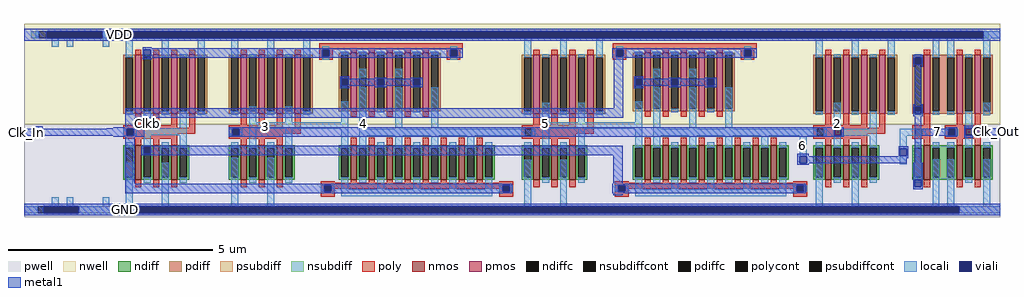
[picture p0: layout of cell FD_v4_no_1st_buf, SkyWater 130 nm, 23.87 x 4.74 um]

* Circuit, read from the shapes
.subckt FD_v4_no_1st_buf Clk_In VDD GND Clk_Out
XM1 Clkb Clk_In GND GND sky130_fd_pr__nfet_01v8 w=0.84 l=0.15 m=3
XM2 3 2 GND GND sky130_fd_pr__nfet_01v8 w=0.84 l=0.15 m=3
XM3 4 Clk_In 3 GND sky130_fd_pr__nfet_01v8 w=0.84 l=0.15 m=8
XM4 5 4 GND GND sky130_fd_pr__nfet_01v8 w=0.84 l=0.15 m=3
XM5 6 Clkb 5 GND sky130_fd_pr__nfet_01v8 w=0.84 l=0.15 m=8
XM6 2 6 GND GND sky130_fd_pr__nfet_01v8 w=0.84 l=0.15 m=3
XM7 GND 6 7 GND sky130_fd_pr__nfet_01v8 w=0.84 l=0.15
XM8 Clk_Out 7 GND GND sky130_fd_pr__nfet_01v8 w=0.84 l=0.15 m=2
XM9 Clkb Clk_In VDD VDD sky130_fd_pr__pfet_01v8 w=1.44 l=0.15 m=4
XM10 3 2 VDD VDD sky130_fd_pr__pfet_01v8 w=1.44 l=0.15 m=4
XM11 4 Clkb 3 VDD sky130_fd_pr__pfet_01v8 w=1.44 l=0.15 m=5
XM12 5 4 VDD VDD sky130_fd_pr__pfet_01v8 w=1.44 l=0.15 m=4
XM13 6 Clk_In 5 VDD sky130_fd_pr__pfet_01v8 w=1.44 l=0.15 m=5
XM14 2 6 VDD VDD sky130_fd_pr__pfet_01v8 w=1.44 l=0.15 m=4
XM15 VDD 6 7 VDD sky130_fd_pr__pfet_01v8 w=1.44 l=0.15
XM16 Clk_Out 7 VDD VDD sky130_fd_pr__pfet_01v8 w=1.44 l=0.15 m=2
.ends

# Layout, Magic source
magic
tech sky130A
magscale 1 2
<< nwell >>
rect -382 -313 4392 178
<< pwell >>
rect -382 -769 4392 -313
<< ndiff >>
rect 4108 -585 4122 -417
<< pdiff >>
rect 4108 -263 4122 25
<< psubdiff >>
rect -382 -748 -314 -714
rect -115 -748 179 -714
rect 4193 -748 4392 -714
<< nsubdiff >>
rect -346 107 -309 141
rect 1 107 28 141
rect 127 107 151 141
rect 4309 107 4336 141
<< psubdiffcont >>
rect -314 -748 -115 -714
rect 179 -748 4193 -714
<< nsubdiffcont >>
rect -309 107 1 141
rect 151 107 4309 141
<< poly >>
rect 1061 52 1216 82
rect 1598 52 1765 82
rect 2499 52 2654 82
rect 3036 52 3203 82
rect 1061 51 1127 52
rect 1061 17 1077 51
rect 1111 17 1127 51
rect 1061 1 1127 17
rect 1687 51 1753 52
rect 1687 17 1703 51
rect 1737 17 1753 51
rect 1687 1 1753 17
rect 2499 51 2565 52
rect 2499 17 2515 51
rect 2549 17 2565 51
rect 2499 1 2565 17
rect 3125 51 3191 52
rect 3125 17 3141 51
rect 3175 17 3191 51
rect 3125 1 3191 17
rect 1070 -600 1137 -593
rect 1943 -600 2010 -593
rect 1070 -611 1216 -600
rect 1070 -645 1086 -611
rect 1120 -630 1216 -611
rect 1862 -611 2010 -600
rect 1862 -630 1959 -611
rect 1120 -645 1137 -630
rect 1070 -669 1137 -645
rect 1943 -645 1959 -630
rect 1993 -645 2010 -611
rect 1943 -669 2010 -645
rect 2508 -600 2575 -593
rect 3381 -600 3448 -593
rect 2508 -611 2654 -600
rect 2508 -645 2524 -611
rect 2558 -630 2654 -611
rect 3300 -611 3448 -600
rect 3300 -630 3397 -611
rect 2558 -645 2575 -630
rect 2508 -669 2575 -645
rect 3381 -645 3397 -630
rect 3431 -645 3448 -611
rect 3381 -669 3448 -645
<< polycont >>
rect 1077 17 1111 51
rect 1703 17 1737 51
rect 2515 17 2549 51
rect 3141 17 3175 51
rect 1086 -645 1120 -611
rect 1959 -645 1993 -611
rect 2524 -645 2558 -611
rect 3397 -645 3431 -611
<< locali >>
rect -325 107 -309 141
rect 1 107 151 141
rect 4309 107 4392 141
rect -246 65 -212 107
rect -174 65 -140 107
rect 2 65 36 107
rect 116 13 150 107
rect 292 13 326 107
rect 468 13 502 107
rect 632 29 666 107
rect 808 13 842 107
rect 984 13 1018 107
rect 1077 51 1111 67
rect 1077 1 1111 17
rect 1703 51 1737 67
rect 1703 1 1737 17
rect 2064 13 2098 107
rect 2240 13 2274 107
rect 2416 13 2450 107
rect 2515 51 2549 67
rect 2515 1 2549 17
rect 3141 51 3175 67
rect 3141 1 3175 17
rect 3491 13 3525 107
rect 3667 13 3701 107
rect 3843 13 3877 107
rect 4062 13 4096 107
rect 4134 13 4168 107
rect 4310 13 4344 107
rect 1258 -83 1292 -42
rect 1434 -83 1468 -42
rect 2696 -83 2730 -42
rect 2872 -83 2906 -42
rect 1258 -92 1262 -83
rect 2696 -92 2700 -83
rect 1258 -134 1262 -126
rect 2696 -134 2700 -126
rect 204 -334 238 -267
rect 380 -334 414 -251
rect 204 -368 414 -334
rect 720 -303 754 -225
rect 896 -303 930 -225
rect 1170 -303 1204 -202
rect 204 -403 238 -368
rect 380 -429 414 -368
rect 720 -337 1204 -303
rect 720 -403 754 -337
rect 896 -429 930 -337
rect 1170 -413 1204 -337
rect 1258 -335 1292 -134
rect 1434 -335 1468 -134
rect 1610 -335 1644 -134
rect 2152 -303 2186 -209
rect 2328 -303 2362 -209
rect 2608 -303 2642 -202
rect 1258 -369 2056 -335
rect 2152 -337 2642 -303
rect 1258 -415 1292 -369
rect 1434 -415 1468 -369
rect 1610 -417 1644 -369
rect 1786 -403 1820 -369
rect 2152 -403 2186 -337
rect 2328 -429 2362 -337
rect 2608 -413 2642 -337
rect 2696 -335 2730 -134
rect 2872 -335 2906 -134
rect 3048 -335 3082 -134
rect 3579 -335 3613 -209
rect 3755 -335 3789 -267
rect 4222 -334 4256 -267
rect 4310 -270 4344 -209
rect 2696 -369 3479 -335
rect 3579 -369 3582 -335
rect 3616 -369 3789 -335
rect 2696 -415 2730 -369
rect 2872 -415 2906 -369
rect 3048 -417 3082 -369
rect 3224 -403 3258 -369
rect 3412 -470 3446 -369
rect 3579 -403 3613 -369
rect 3755 -403 3789 -369
rect 3902 -369 3962 -335
rect 3977 -369 4011 -335
rect -246 -714 -212 -670
rect -174 -714 -140 -670
rect 2 -714 36 -670
rect 116 -714 150 -503
rect 292 -714 326 -503
rect 632 -714 666 -477
rect 808 -714 842 -477
rect 1070 -645 1086 -611
rect 1120 -645 1136 -611
rect 1170 -633 1204 -599
rect 1346 -633 1380 -599
rect 1522 -633 1556 -573
rect 1698 -633 1732 -573
rect 1874 -633 1908 -573
rect 1170 -667 1908 -633
rect 1943 -645 1959 -611
rect 1993 -645 2009 -611
rect 2064 -714 2098 -488
rect 2240 -714 2274 -488
rect 3902 -433 3936 -369
rect 4222 -403 4256 -368
rect 2508 -645 2524 -611
rect 2558 -645 2574 -611
rect 2608 -633 2642 -599
rect 2784 -633 2818 -599
rect 2960 -633 2994 -573
rect 3136 -633 3170 -573
rect 3312 -633 3346 -573
rect 2608 -667 3346 -633
rect 3381 -645 3397 -611
rect 3431 -645 3447 -611
rect 3491 -714 3525 -501
rect 3667 -714 3701 -501
rect 3902 -510 3936 -467
rect 3974 -470 4008 -436
rect 3974 -585 4008 -477
rect 4062 -714 4096 -486
rect 4134 -714 4168 -486
rect 4310 -714 4344 -486
rect -382 -748 -314 -714
rect -115 -748 179 -714
rect 4193 -748 4392 -714
<< viali >>
rect -270 107 1 141
rect 151 107 4309 141
rect 204 17 238 51
rect 1077 17 1111 51
rect 1703 17 1737 51
rect 2515 17 2549 51
rect 3141 17 3175 51
rect 3974 -21 4008 13
rect 1170 -126 1204 -92
rect 1346 -126 1380 -92
rect 1522 -126 1556 -92
rect 2608 -126 2642 -92
rect 2784 -126 2818 -92
rect 2960 -126 2994 -92
rect 120 -369 154 -335
rect 204 -459 238 -425
rect 636 -369 670 -335
rect 3974 -262 4008 -228
rect 3582 -369 3616 -335
rect 4138 -369 4172 -335
rect 4222 -368 4256 -334
rect 1086 -645 1120 -611
rect 1959 -645 1993 -611
rect 3412 -504 3446 -470
rect 3902 -467 3936 -433
rect 2524 -645 2558 -611
rect 3397 -645 3431 -611
rect 3974 -619 4008 -585
rect -289 -748 -115 -714
rect 179 -748 4193 -714
<< metal1 >>
rect -382 141 4392 153
rect -382 107 -270 141
rect 1 107 151 141
rect 4309 107 4392 141
rect -382 95 4392 107
rect 198 57 244 63
rect 198 51 1765 57
rect 198 17 204 51
rect 238 17 1077 51
rect 1111 17 1703 51
rect 1737 17 1765 51
rect 198 11 1765 17
rect 2495 51 3203 57
rect 2495 17 2515 51
rect 2549 17 3141 51
rect 3175 17 3203 51
rect 2495 11 3203 17
rect 3968 13 4014 25
rect 198 5 244 11
rect 1164 -92 1210 -80
rect 1334 -92 1392 -86
rect 1510 -92 1568 -86
rect 1164 -126 1170 -92
rect 1204 -126 1346 -92
rect 1380 -126 1522 -92
rect 1556 -126 1568 -92
rect 1164 -138 1210 -126
rect 1334 -132 1392 -126
rect 1510 -132 1568 -126
rect 2503 -236 2549 11
rect 3968 -21 3974 13
rect 4008 -21 4014 13
rect 3968 -33 4014 -21
rect 2602 -92 2648 -80
rect 2772 -92 2830 -86
rect 2948 -92 3006 -86
rect 2602 -126 2608 -92
rect 2642 -126 2784 -92
rect 2818 -126 2960 -92
rect 2994 -126 3006 -92
rect 2602 -138 2648 -126
rect 2772 -132 2830 -126
rect 2948 -132 3006 -126
rect 3974 -216 4008 -33
rect 113 -282 2549 -236
rect 3968 -228 4014 -216
rect 3968 -262 3974 -228
rect 4008 -262 4014 -228
rect 3968 -274 4014 -262
rect -336 -335 -290 -323
rect 113 -329 159 -282
rect 55 -334 206 -329
rect 22 -335 206 -334
rect -382 -369 120 -335
rect 154 -369 206 -335
rect -336 -381 -290 -369
rect 55 -375 206 -369
rect 620 -335 3628 -329
rect 620 -369 636 -335
rect 670 -369 3582 -335
rect 3616 -369 3628 -335
rect 620 -375 3628 -369
rect 3974 -335 4008 -274
rect 4126 -335 4184 -329
rect 3974 -369 4138 -335
rect 4172 -369 4184 -335
rect 113 -605 159 -375
rect 192 -425 2547 -419
rect 192 -459 204 -425
rect 238 -459 2547 -425
rect 3896 -433 3942 -421
rect 192 -465 2547 -459
rect 2501 -605 2547 -465
rect 3400 -470 3456 -458
rect 3896 -467 3902 -433
rect 3936 -467 3942 -433
rect 3896 -470 3942 -467
rect 3400 -504 3412 -470
rect 3446 -479 3942 -470
rect 3446 -504 3936 -479
rect 3974 -501 4008 -369
rect 4126 -375 4184 -369
rect 4216 -334 4262 -322
rect 4216 -368 4222 -334
rect 4256 -368 4392 -334
rect 4216 -380 4262 -368
rect 3400 -512 3456 -504
rect 3968 -585 4014 -501
rect 113 -611 2005 -605
rect 113 -645 1086 -611
rect 1120 -645 1959 -611
rect 1993 -645 2005 -611
rect 113 -651 2005 -645
rect 2495 -611 3443 -605
rect 2495 -645 2524 -611
rect 2558 -645 3397 -611
rect 3431 -645 3443 -611
rect 3968 -619 3974 -585
rect 4008 -619 4014 -585
rect 3968 -631 4014 -619
rect 2495 -651 3443 -645
rect 2501 -660 2547 -651
rect -382 -714 4392 -702
rect -382 -748 -289 -714
rect -115 -748 179 -714
rect 4193 -748 4392 -714
rect -382 -760 4392 -748
use sky130_fd_pr__pfet_01v8_A8DS5R  MPClkin
transform 1 0 177 0 1 -227
box -109 -133 373 314
use sky130_fd_pr__nfet_01v8_PW6BNL  MNClkin
transform 1 0 177 0 1 -422
box -73 -199 249 103
use sky130_fd_pr__pfet_01v8_A8DS5R  MPinv1
transform 1 0 693 0 1 -227
box -109 -133 373 314
use sky130_fd_pr__nfet_01v8_PW6BNL  MNinv1
transform 1 0 693 0 1 -422
box -73 -199 249 103
use sky130_fd_pr__pfet_01v8_A2DS5R  MPTgate1
transform 1 0 1231 0 -1 1
box -109 -86 461 314
use sky130_fd_pr__nfet_01v8_PW9BNL  MNTgate1
transform 1 0 1231 0 -1 -580
box -73 -199 689 50
use sky130_fd_pr__nfet_01v8_PW6BNL  MNinv2
transform 1 0 2125 0 1 -422
box -73 -199 249 103
use sky130_fd_pr__pfet_01v8_A8DS5R  MPinv2
transform 1 0 2125 0 1 -227
box -109 -133 373 314
use sky130_fd_pr__nfet_01v8_PW9BNL  MNTgate2
transform 1 0 2669 0 -1 -580
box -73 -199 689 50
use sky130_fd_pr__pfet_01v8_A2DS5R  MPTgate2
transform 1 0 2669 0 -1 1
box -109 -86 461 314
use sky130_fd_pr__nfet_01v8_PW6BNL  MNfb
transform 1 0 3552 0 1 -422
box -73 -199 249 103
use sky130_fd_pr__pfet_01v8_A8DS5R  MPfb
transform 1 0 3552 0 1 -227
box -109 -133 373 314
use sky130_fd_pr__pfet_01v8_A1DS5R  MPbuf2
transform 1 0 4195 0 1 -227
box -109 -133 197 314
use sky130_fd_pr__nfet_01v8_PW7BNL  MNbuf1
transform 1 0 4035 0 1 -422
box -73 -199 73 103
use sky130_fd_pr__pfet_01v8_A9DS5R  MPbuf1
transform 1 0 4035 0 1 -227
box -109 -133 109 314
use sky130_fd_pr__nfet_01v8_PW8BNL  MNbuf2
transform 1 0 4195 0 1 -422
box -73 -199 161 103
<< labels >>
rlabel locali 208 -326 233 -298 1 Clkb
rlabel metal1 68 95 102 153 1 VDD
port 2 n
rlabel metal1 96 -760 130 -702 1 GND
port 3 n
rlabel locali 786 -335 811 -311 1 3
rlabel locali 1264 -321 1289 -297 1 4
rlabel locali 2157 -323 2182 -299 1 5
rlabel locali 3583 -321 3608 -297 1 2
rlabel locali 3416 -430 3440 -404 1 6
rlabel metal1 4072 -363 4097 -339 1 7
rlabel metal1 4358 -368 4392 -334 1 Clk_Out
port 4 n
rlabel metal1 -382 -369 -357 -335 1 Clk_In
port 1 n
<< properties >>
string LEFsite unithddb1
string LEFclass CORE
<< end >>

# cell sky130_fd_pr__pfet_01v8_A8DS5R: kit device sky130_fd_pr__pfet_01v8, w 0.72 l 0.15 m 1 nf 1 diffcov 100 polycov 100 guard 0 glc 0 grc 0 gtc 0 gbc 0 tbcov 100 rlcov 100 topc 0 botc 1 poverlap 0 doverlap 1 lmin 0.15 wmin 0.42 compatible {sky130_fd_pr__pfet_01v8 sky130_fd_pr__pfet_01v8_lvt sky130_fd_pr__pfet_01v8_hvt sky130_fd_pr__pfet_g5v0d10v5} full_metal 0 viasrc 100 viadrn 100 viagate 100 viagb 0 viagr 0 viagl 0 viagt 0

# cell sky130_fd_pr__nfet_01v8_PW6BNL: kit device sky130_fd_pr__nfet_01v8, w 0.460 l 0.150 m 1 nf 1 diffcov 100 polycov 100 guard 0 glc 0 grc 0 gtc 0 gbc 0 tbcov 100 rlcov 100 topc 1 botc 0 poverlap 0 doverlap 1 lmin 0.15 wmin 0.42 compatible {sky130_fd_pr__nfet_01v8 sky130_fd_pr__nfet_01v8_lvt sky130_fd_bs_flash__special_sonosfet_star sky130_fd_pr__nfet_g5v0d10v5 sky130_fd_pr__nfet_05v0_nvt sky130_fd_pr__nfet_03v3_nvt} full_metal 0 viasrc 100 viadrn 100 viagate 100 viagb 0 viagr 0 viagl 0 viagt 0

# cell sky130_fd_pr__pfet_01v8_A2DS5R: kit device sky130_fd_pr__pfet_01v8, w 0.72 l 0.15 m 1 nf 1 diffcov 100 polycov 100 guard 0 glc 0 grc 0 gtc 0 gbc 0 tbcov 100 rlcov 100 topc 0 botc 1 poverlap 0 doverlap 1 lmin 0.15 wmin 0.42 compatible {sky130_fd_pr__pfet_01v8 sky130_fd_pr__pfet_01v8_lvt sky130_fd_pr__pfet_01v8_hvt sky130_fd_pr__pfet_g5v0d10v5} full_metal 0 viasrc 100 viadrn 100 viagate 100 viagb 0 viagr 0 viagl 0 viagt 0

# cell sky130_fd_pr__nfet_01v8_PW9BNL: kit device sky130_fd_pr__nfet_01v8, w 0.460 l 0.150 m 1 nf 1 diffcov 100 polycov 100 guard 0 glc 0 grc 0 gtc 0 gbc 0 tbcov 100 rlcov 100 topc 1 botc 0 poverlap 0 doverlap 1 lmin 0.15 wmin 0.42 compatible {sky130_fd_pr__nfet_01v8 sky130_fd_pr__nfet_01v8_lvt sky130_fd_bs_flash__special_sonosfet_star sky130_fd_pr__nfet_g5v0d10v5 sky130_fd_pr__nfet_05v0_nvt sky130_fd_pr__nfet_03v3_nvt} full_metal 0 viasrc 100 viadrn 100 viagate 100 viagb 0 viagr 0 viagl 0 viagt 0

# cell sky130_fd_pr__pfet_01v8_A1DS5R: kit device sky130_fd_pr__pfet_01v8, w 0.72 l 0.15 m 1 nf 1 diffcov 100 polycov 100 guard 0 glc 0 grc 0 gtc 0 gbc 0 tbcov 100 rlcov 100 topc 0 botc 1 poverlap 0 doverlap 1 lmin 0.15 wmin 0.42 compatible {sky130_fd_pr__pfet_01v8 sky130_fd_pr__pfet_01v8_lvt sky130_fd_pr__pfet_01v8_hvt sky130_fd_pr__pfet_g5v0d10v5} full_metal 0 viasrc 100 viadrn 100 viagate 100 viagb 0 viagr 0 viagl 0 viagt 0

# cell sky130_fd_pr__nfet_01v8_PW7BNL: kit device sky130_fd_pr__nfet_01v8, w 0.460 l 0.150 m 1 nf 1 diffcov 100 polycov 100 guard 0 glc 0 grc 0 gtc 0 gbc 0 tbcov 100 rlcov 100 topc 1 botc 0 poverlap 0 doverlap 1 lmin 0.15 wmin 0.42 compatible {sky130_fd_pr__nfet_01v8 sky130_fd_pr__nfet_01v8_lvt sky130_fd_bs_flash__special_sonosfet_star sky130_fd_pr__nfet_g5v0d10v5 sky130_fd_pr__nfet_05v0_nvt sky130_fd_pr__nfet_03v3_nvt} full_metal 0 viasrc 100 viadrn 100 viagate 100 viagb 0 viagr 0 viagl 0 viagt 0

# cell sky130_fd_pr__pfet_01v8_A9DS5R: kit device sky130_fd_pr__pfet_01v8, w 0.72 l 0.15 m 1 nf 1 diffcov 100 polycov 100 guard 0 glc 0 grc 0 gtc 0 gbc 0 tbcov 100 rlcov 100 topc 0 botc 1 poverlap 0 doverlap 1 lmin 0.15 wmin 0.42 compatible {sky130_fd_pr__pfet_01v8 sky130_fd_pr__pfet_01v8_lvt sky130_fd_pr__pfet_01v8_hvt sky130_fd_pr__pfet_g5v0d10v5} full_metal 0 viasrc 100 viadrn 100 viagate 100 viagb 0 viagr 0 viagl 0 viagt 0

# cell sky130_fd_pr__nfet_01v8_PW8BNL: kit device sky130_fd_pr__nfet_01v8, w 0.460 l 0.150 m 1 nf 1 diffcov 100 polycov 100 guard 0 glc 0 grc 0 gtc 0 gbc 0 tbcov 100 rlcov 100 topc 1 botc 0 poverlap 0 doverlap 1 lmin 0.15 wmin 0.42 compatible {sky130_fd_pr__nfet_01v8 sky130_fd_pr__nfet_01v8_lvt sky130_fd_bs_flash__special_sonosfet_star sky130_fd_pr__nfet_g5v0d10v5 sky130_fd_pr__nfet_05v0_nvt sky130_fd_pr__nfet_03v3_nvt} full_metal 0 viasrc 100 viadrn 100 viagate 100 viagb 0 viagr 0 viagl 0 viagt 0
